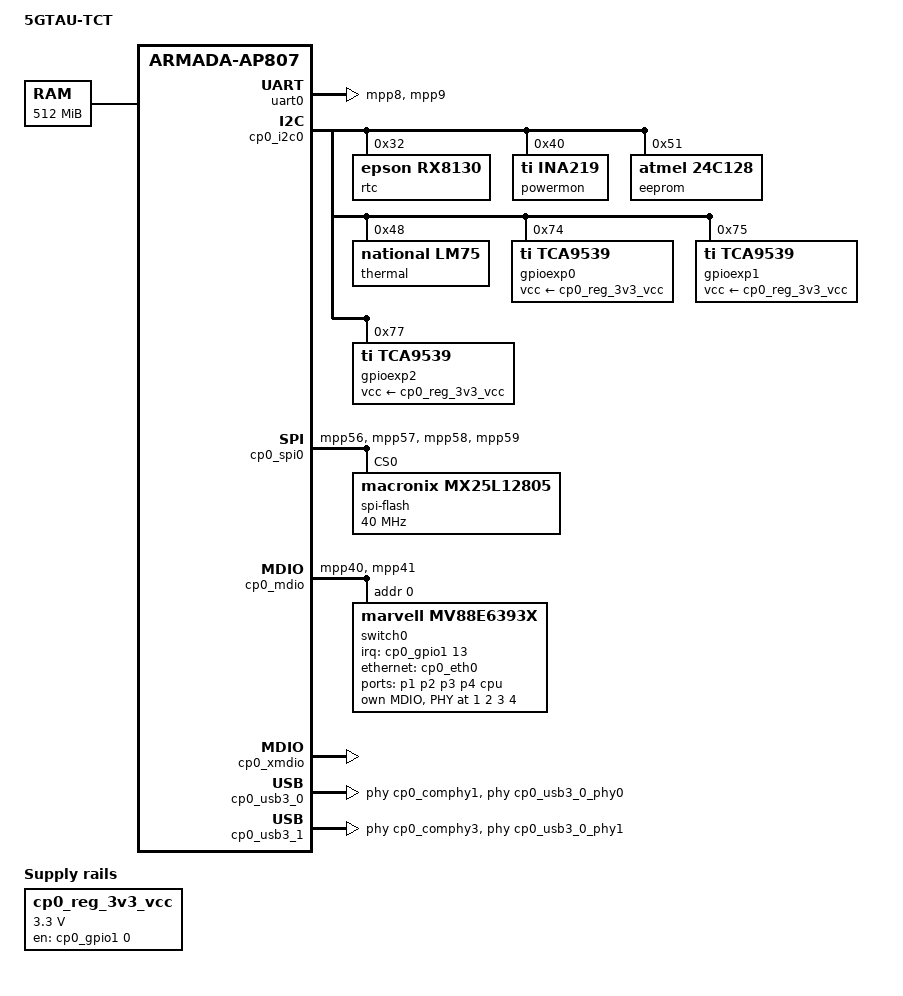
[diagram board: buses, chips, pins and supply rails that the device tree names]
// SPDX-License-Identifier: GPL-2.0+
/*
 * Copyright (C) 2019 Marvell International Ltd.
 */

#include "cn9130-crb.dtsi"

/ {
	model = "5GTAU-TCT";
	compatible = "marvell,cn9130-crb-B",
		"marvell,armada-ap807-quad",
		"marvell,armada-ap807";

	memory@00000000 {
		device_type = "memory";
		reg = <0x0 0x0 0x0 0x20000000>;
        };
};

/ {
	cp0_reg_3v3_vcc: cp0_sd_vcc@0 {
		compatible = "regulator-fixed";
		regulator-name = "cp0_sd_vcc";
		regulator-min-microvolt = <3300000>;
		regulator-max-microvolt = <3300000>;
		gpio = <&cp0_gpio1 0 GPIO_ACTIVE_HIGH>;
		enable-active-high;
		regulator-always-on;
	};
};

&cp0_pinctrl {
	cp0_spi0_pins_crb: cp0-spi-pins-crb {
		marvell,pins = "mpp56", "mpp57", "mpp58", "mpp59";
		marvell,function = <6>;
	};

	cp0_spi1_pins_crb: cp0-spi-pins-crb {
		marvell,pins = "mpp47", "mpp48", "mpp49", "mpp50";
		marvell,function = "spi1";
	};

	cp0_pcie_pins_reset: cp0-pcie-pins-reset {
		marvell,pins = "mpp3";
		marvell,function = <6>;
	};

	cp0_pcie_pins_clkreq: cp0-pcie-pins-clkreq {
		marvell,pins = "mpp6";
		marvell,function = <7>;
	};

	cp0_mdio_pins_crb: cp0-mdio-pins-crb {
		marvell,pins = "mpp40", "mpp41";
		marvell,function = "ge";
	};

	/* interrupt pin */
	cp0_gpio_switch0_pins_crb: cp0-gpio-switch0-pins-crb {
		marvell,pins = "mpp13";
		marvell,function = "gpio";
	};

	uart0_pins_dtr_dsr: uart0-pins-dtr-dsr {
		marvell,pins = "mpp8", "mpp9";
		marvell,function = <0>; /* gpio */
	};
};

&uart0 {
	pinctrl-names = "default";
	pinctrl-0 = <&uart0_pins_dtr_dsr>;
	dtr {
		gpio-hog;
		gpios = <&cp0_gpio1 9 1>;
		output-low;
	};
	dsr {
		gpio-hog;
		gpios = <&cp0_gpio1 8 1>;
		input;
	};
};

&cp0_pcie0 {
	pinctrl-names = "default";
	pinctrl-0 = <&cp0_pcie_pins_reset
		     &cp0_pcie_pins_clkreq>;
	num-lanes = <1>;
	num-viewport = <8>;
	/* Generic PHY, providing serdes lanes */
	phys = <&cp0_comphy0 0>;
	status = "disabled";
};

&cp0_sdhci0 { /* external SD card */
	status = "disabled";
};

&ap_sdhci0 { /* embedded eMMC */
	mmc-ddr-3_3v;
	cap-mmc-highspeed;
	/delete-property/ mmc-ddr-1_8v;
	/delete-property/ mmc-hs400-1_8v;
	/delete-property/ vqmmc-supply;
};

&cp0_reg_usb3_vbus1 { /* FIXME: maybe detelet-node it */
	gpio = <&gpioexp1 0 GPIO_ACTIVE_HIGH>;
	status = "disabled";
};

/delete-node/ &ap0_reg_mmc_vccq; /* it is used mcp23x17@20 */

&cp0_i2c0 {
	/delete-node/ mcp23x17@20;

	rtc@32 {
		compatible = "epson,rx8130";
		reg = <0x32>;
		status = "okay";
	};

        powermon@40 {
		compatible = "ti,ina219";
		reg = <0x40>;
		shunt-resistor = <5000>;
		status = "okay";
	};

	eeprom@51 {
		compatible = "atmel,24c128";
		reg = <0x51>;
		u-boot,i2c-offset-len = <2>;
		status = "okay";
	};

	thermal@48 {
		compatible = "national,lm75";
		reg = <0x48>;
		status = "okay";
	};

	gpioexp0: gpioexp0@74 {
		compatible = "ti,tca9539";
		reg = <0x74>;
		#gpio-cells = <2>;
		gpio-controller;
		status = "okay";
		vcc-supply = <&cp0_reg_3v3_vcc>;
		interrupts = <&cp0_gpio2 19 IRQ_TYPE_LEVEL_LOW>;
	};

	gpioexp1: gpioexp1@75 {
		compatible = "ti,tca9539";
		reg = <0x75>;
		#gpio-cells = <2>;
		gpio-controller;
		status = "okay";
		vcc-supply = <&cp0_reg_3v3_vcc>;
		interrupts = <&cp0_gpio2 19 IRQ_TYPE_LEVEL_LOW>;
	};

	gpioexp2: gpioexp2@77 {
		compatible = "ti,tca9539";
		reg = <0x77>;
		#gpio-cells = <2>;
		gpio-controller;
		status = "okay";
		vcc-supply = <&cp0_reg_3v3_vcc>;
	};
};

&cp0_spi0 {
	pinctrl-names = "default";
	pinctrl-0 = <&cp0_spi0_pins_crb>;
	reg = <0x700600 0x50>,		/* control */
	      <0x2000000 0x1000000>,	/* CS0 */
	      <0 0xffffffff>,		/* CS1 */
	      <0 0xffffffff>,		/* CS2 */
	      <0 0xffffffff>;		/* CS3 */
	status = "okay";

	spi-flash@0 {
		#address-cells = <0x1>;
		#size-cells = <0x1>;
		compatible = "macronix,mx25l12805", "jedec,spi-nor", "spi-flash";
		reg = <0x0>;
		/* On-board MUX does not allow higher frequencies */
		spi-max-frequency = <40000000>;
		status = "okay";
        };
};

&cp0_spi1 {
        pinctrl-names = "default";
        pinctrl-0 = <&cp0_spi1_pins_crb>;
        reg = <0x700680 0x50>,		/* control */
              <0x2000000 0x1000000>;	/* CS0 */
        status = "disabled";

	tpm2@0 {
        	status = "disabled";
		interrupts = <&cp0_gpio2 29 IRQ_TYPE_LEVEL_LOW>;
		reset-gpios = <&cp0_gpio2 30 GPIO_ACTIVE_LOW>;
		reset {
			gpio-hog;
			gpios = <&cp0_gpio2 30 1>;
			output-high;
		};
	};
};

&cp0_mdio {
	pinctrl-names = "ge";
	pinctrl-0 = <&cp0_mdio_pins_crb>;

	#address-cells = <1>;
	#size-cells = <0>;
	#interrupt-cells = <2>;

	/delete-node/ ethernet-phy@0;

	switch0: switch0@0 {
		compatible = "marvell,mv88e6393x";
		pinctrl-0 = <&cp0_gpio_switch0_pins_crb>;
		pinctrl-names = "default";
		reg = <0>;
		phy-addr = <0>;
		port-mask = <0x3ff>;

		dsa,member = <0 0>;

		interrupt-parent = <&cp0_gpio1>;
		interrupts = <13 IRQ_TYPE_LEVEL_LOW>;
		interrupt-controller;
		#interrupt-cells = <2>;

		ports {
			#address-cells = <1>;
			#size-cells = <0>;
			port@1 {
				reg = <1>;
				label = "p1";
				phy-handle = <&switch0port1>;
			};
			port@2 {
				reg = <2>;
				label = "p2";
				phy-handle = <&switch0port2>;
			};
			port@3 {
				reg = <3>;
				label = "p3";
				phy-handle = <&switch0port3>;
			};
			port@4 {
				reg = <4>;
				label = "p4";
				phy-handle = <&switch0port4>;
			};
			/* no-used
			port@5 {
				reg = <5>;
				label = "p5";
				phy-handle = <&switch0port5>;
			};
			port@6 {
				reg = <6>;
				label = "p6";
				phy-handle = <&switch0port6>;
			};
			port@7 {
				reg = <7>;
				label = "p7";
				phy-handle = <&switch0port7>;
			};
			port@8 {
				reg = <8>;
				label = "p8";
				phy-handle = <&switch0port8>;
			};
			port@9 {
				reg = <9>;
				label = "p9";
				phy-mode = "sgmii";
				fixed-link {
					speed = <1000>;
					full-duplex;
				};
			};
			port@10 {
				reg = <0xa>;
				label = "p10";
				phy-mode = "sgmii";
				fixed-link {
					speed = <1000>;
					full-duplex;
				};
			};
			*/
			port0: port@0 {
				reg = <0>;
				label = "cpu";
				phy-mode = "10gbase-kr";
				ethernet = <&cp0_eth0>;
			};
		};

		mdio-bus {
			#address-cells = <1>;
			#size-cells = <0>;
			switch0port1: switch0port@1 {
				reg = <1>;
				interrupt-parent = <&switch0>;
				interrupts = <1 IRQ_TYPE_LEVEL_HIGH>;
			};
			switch0port2: switch0port@2 {
				reg = <2>;
				interrupt-parent = <&switch0>;
				interrupts = <2 IRQ_TYPE_LEVEL_HIGH>;
			};
			switch0port3: switch0port@3 {
				reg = <3>;
				interrupt-parent = <&switch0>;
				interrupts = <3 IRQ_TYPE_LEVEL_HIGH>;
			};
			switch0port4: switch0port@4 {
				reg = <4>;
				interrupt-parent = <&switch0>;
				interrupts = <4 IRQ_TYPE_LEVEL_HIGH>;
			};
			/* no-used
			switch0port5: switch0port@5 {
				reg = <5>;
				interrupt-parent = <&switch0>;
				interrupts = <5 IRQ_TYPE_LEVEL_HIGH>;
			};
			switch0port6: switch0port@6 {
				reg = <6>;
				interrupt-parent = <&switch0>;
				interrupts = <6 IRQ_TYPE_LEVEL_HIGH>;
			};
			switch0port7: switch0port@7 {
				reg = <7>;
				interrupt-parent = <&switch0>;
				interrupts = <7 IRQ_TYPE_LEVEL_HIGH>;
			};
			switch0port8: switch0port@8 {
				reg = <8>;
				interrupt-parent = <&switch0>;
				interrupts = <8 IRQ_TYPE_LEVEL_HIGH>;
			};
			*/
		};
	};
};

&cp0_xmdio {
	status = "okay";
	/delete-node/ ethernet-phy@0;
};

&cp0_eth1 {
	/delete-property/ phy;
	status = "disabled";
};

&cp0_eth2 {
	/delete-property/ phy;
	status = "disabled";
};

&cp0_usb3_0 {
	status = "okay";
	usb-phy = <&cp0_usb3_0_phy0>;
	phy-names = "usb";
	phys = <&cp0_comphy1 0>;
};

&cp0_usb3_1 {
	status = "okay";
	usb-phy = <&cp0_usb3_0_phy1>;
	phy-names = "usb";
	phys = <&cp0_comphy3 1>;
};
